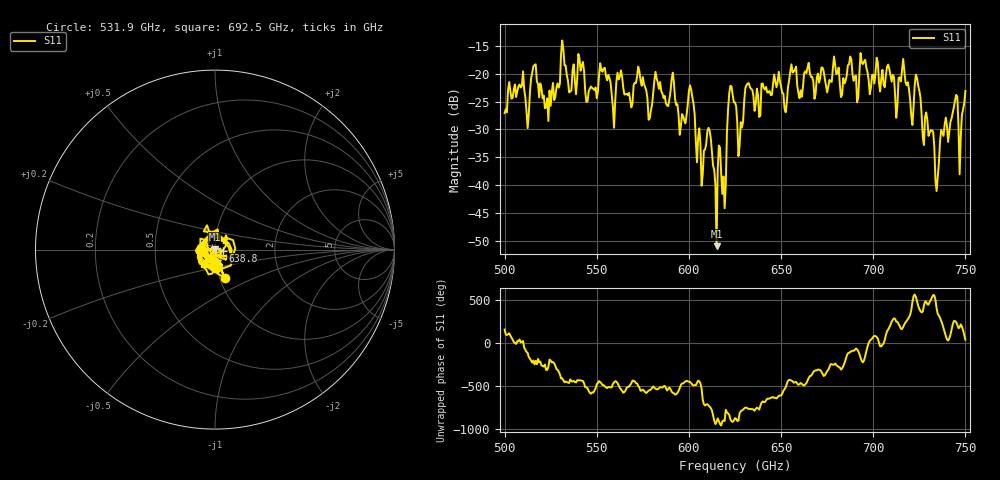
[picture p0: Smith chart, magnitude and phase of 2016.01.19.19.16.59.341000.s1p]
!Created with skrf (http://scikit-rf.org).
# GHz S RI R 50.0
!freq ReS11 ImS11
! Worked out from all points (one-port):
!   401 points, 500 GHz to 750 GHz, reference 50 ohm
!   lowest |S11| = -51.0 dB at 615 GHz (marker M1), VSWR 1.01, Z = 49.7 + j0.0608 ohm
!   |S11| at or under -10 dB: start of sweep to end of sweep
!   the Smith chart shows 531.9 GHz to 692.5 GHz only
!   S11 on the Smith chart (normalised r, x): 531.9 GHz: 1.06, -0.34; 638.8 GHz: 1.09, -0.01; 692.5 GHz: 0.87, -0.14
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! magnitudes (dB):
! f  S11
! 500 GHz  -27.1
! 508.8 GHz  -22.5
! 512.5 GHz  -29.8
! 515.6 GHz  -18.7
! 523.8 GHz  -28.5
! 531.2 GHz  -14.0
! 531.9 GHz  -15.6
! 545 GHz  -25.0
! 562.5 GHz  -20.6
! 593.8 GHz  -25.5
! 601.2 GHz  -22.9
! 605.6 GHz  -29.8
! 611.2 GHz  -30.3
! 615 GHz  -51.0
! 618.8 GHz  -38.5
! 621.9 GHz  -23.5
! 625 GHz  -25.2
! 628.1 GHz  -28.7
! 631.9 GHz  -21.8
! 638.8 GHz  -27.5
! 656.2 GHz  -19.8
! 687.5 GHz  -16.9
! 692.5 GHz  -19.9
! 718.8 GHz  -21.5
! 724.4 GHz  -22.1
! 734.4 GHz  -41.1
! 738.1 GHz  -31.2
! 750 GHz  -23.1
